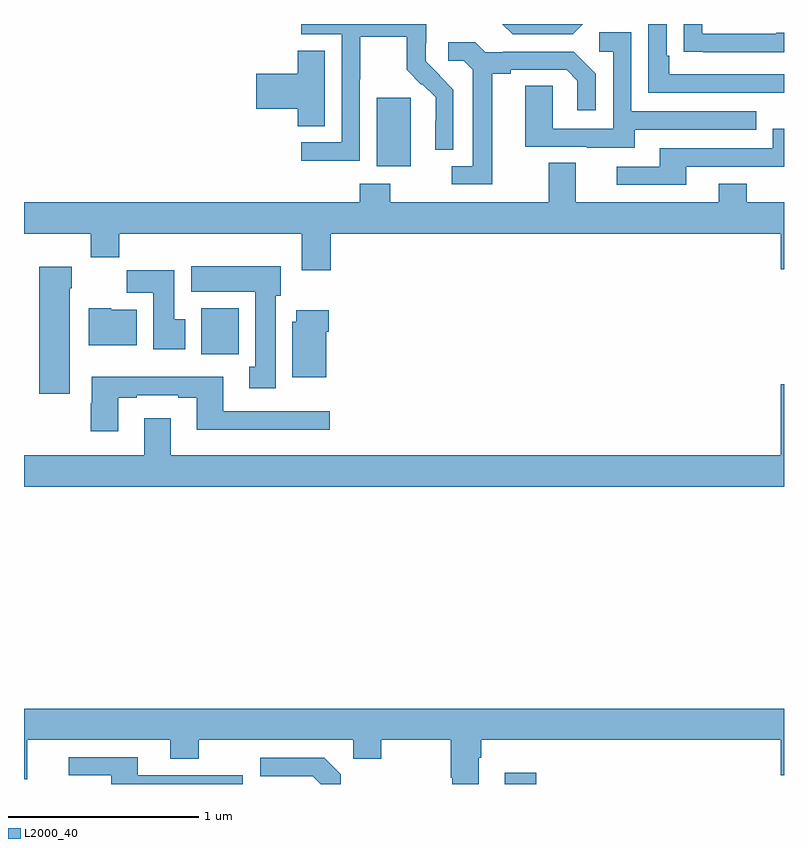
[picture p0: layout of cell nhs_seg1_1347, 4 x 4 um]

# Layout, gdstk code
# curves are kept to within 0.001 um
import gdstk
lib = gdstk.Library(unit=1e-6, precision=1e-09)
def R(c, l, rs):  # rectangles x0, y0, x1, y1
    for r in rs: c.add(gdstk.rectangle(r[:2], r[2:], *l))
def P(c, l, *ps):  # polygons
    for p in ps: c.add(gdstk.Polygon(p, *l))
L2000_40 = (2000, 40)

nhs_seg1_1347 = lib.new_cell('nhs_seg1_1347')
R(nhs_seg1_1347, L2000_40, [(187.529,518.199,187.697,518.257), (185.933,520.46,186.13,520.702), (186.857,521.45,187.036,521.811)])
P(nhs_seg1_1347, L2000_40, [(189,521.934),(188.395,521.934),(188.395,522.031),(188.382,522.031),(188.382,522.199),(188.286,522.199),(188.286,521.838),(189,521.838)],
  [(187.942,522.199),(187.517,522.199),(187.572,522.144),(187.887,522.144)],
  [(186.768,521.908),(186.771,521.908),(186.771,522.132),(187.015,522.132),(187.015,521.957),(187.092,521.88),(187.095,521.883),(187.166,521.813),(187.166,521.69),(187.164,521.69),(187.164,521.536),(187.26,521.536),(187.26,521.854),(187.114,522.002),(187.114,522.099),(187.116,522.099),(187.116,522.199),(186.459,522.199),(186.459,522.144),(186.672,522.144),(186.672,521.577),(186.459,521.577),(186.459,521.479),(186.768,521.479)],
  [(189,522.152),(188.959,522.152),(188.959,522.147),(188.569,522.147),(188.569,522.199),(188.473,522.199),(188.473,522.052),(188.575,522.052),(188.575,522.051),(189,522.051)],
  [(188.215,521.643),(188.855,521.643),(188.855,521.739),(188.196,521.739),(188.196,522.155),(188.028,522.155),(188.028,522.054),(188.1,522.054),(188.1,521.649),(187.782,521.649),(187.782,521.873),(187.637,521.873),(187.637,521.553),(187.961,521.553),(187.961,521.549),(188.215,521.549)],
  [(187.465,521.936),(187.561,521.936),(187.561,521.958),(187.856,521.958),(187.913,521.901),(187.913,521.745),(188.01,521.745),(188.01,521.938),(187.894,522.054),(187.522,522.054),(187.522,522.051),(187.428,522.051),(187.376,522.103),(187.233,522.103),(187.233,522.006),(187.314,522.006),(187.361,521.959),(187.361,521.451),(187.251,521.451),(187.251,521.355),(187.465,521.355)],
  [(186.583,522.059),(186.44,522.059),(186.44,521.936),(186.222,521.936),(186.222,521.753),(186.44,521.753),(186.44,521.662),(186.583,521.662)],
  [(188.485,521.448),(189,521.448),(189,521.647),(188.94,521.647),(188.94,521.544),(188.345,521.544),(188.345,521.448),(188.121,521.448),(188.121,521.352),(188.485,521.352)],
  [(186.614,521.096),(188.984,521.096),(188.984,520.908),(189,520.908),(189,521.26),(188.805,521.26),(188.805,521.359),(188.657,521.359),(188.657,521.26),(187.903,521.26),(187.903,521.468),(187.763,521.468),(187.763,521.26),(186.927,521.26),(186.927,521.359),(186.767,521.359),(186.767,521.26),(185,521.26),(185,521.096),(185.35,521.096),(185.35,520.972),(185.501,520.972),(185.501,521.096),(186.461,521.096),(186.461,520.902),(186.614,520.902)],
  [(186.325,520.77),(186.352,520.77),(186.352,520.924),(185.879,520.924),(185.879,520.79),(186.218,520.79),(186.218,520.394),(186.185,520.394),(186.185,520.281),(186.325,520.281)],
  [(185.242,520.808),(185.25,520.808),(185.25,520.921),(185.081,520.921),(185.081,520.254),(185.242,520.254)],
  [(185.848,520.644),(185.791,520.644),(185.791,520.903),(185.542,520.903),(185.542,520.784),(185.681,520.784),(185.681,520.488),(185.848,520.488)],
  [(185.593,520.696),(185.46,520.696),(185.46,520.702),(185.342,520.702),(185.342,520.508),(185.593,520.508)],
  [(186.592,520.58),(186.605,520.58),(186.605,520.693),(186.434,520.693),(186.434,520.632),(186.413,520.632),(186.413,520.34),(186.592,520.34)],
  [(185.497,520.233),(185.593,520.233),(185.593,520.245),(185.813,520.245),(185.813,520.233),(185.909,520.233),(185.909,520.064),(186.61,520.064),(186.61,520.161),(186.049,520.161),(186.049,520.342),(185.357,520.342),(185.357,520.203),(185.35,520.203),(185.35,520.056),(185.497,520.056)],
  [(189,520.303),(188.984,520.303),(188.984,519.928),(185.773,519.928),(185.773,520.123),(185.633,520.123),(185.633,519.928),(185,519.928),(185,519.764),(189,519.764)],
  [(187.393,518.336),(187.406,518.336),(187.406,518.432),(188.984,518.432),(188.984,518.244),(189,518.244),(189,518.596),(185,518.596),(185,518.224),(185.017,518.224),(185.017,518.432),(185.771,518.432),(185.771,518.333),(185.919,518.333),(185.919,518.432),(186.732,518.432),(186.732,518.333),(186.879,518.333),(186.879,518.432),(187.246,518.432),(187.246,518.233),(187.253,518.233),(187.253,518.199),(187.393,518.199)],
  [(186.15,518.244),(185.599,518.244),(185.599,518.34),(185.235,518.34),(185.235,518.244),(185.459,518.244),(185.459,518.199),(186.15,518.199)],
  [(186.666,518.25),(186.579,518.337),(186.243,518.337),(186.243,518.241),(186.519,518.241),(186.561,518.199),(186.666,518.199)])

lib.write_gds('nhs_seg1_1347.gds')
